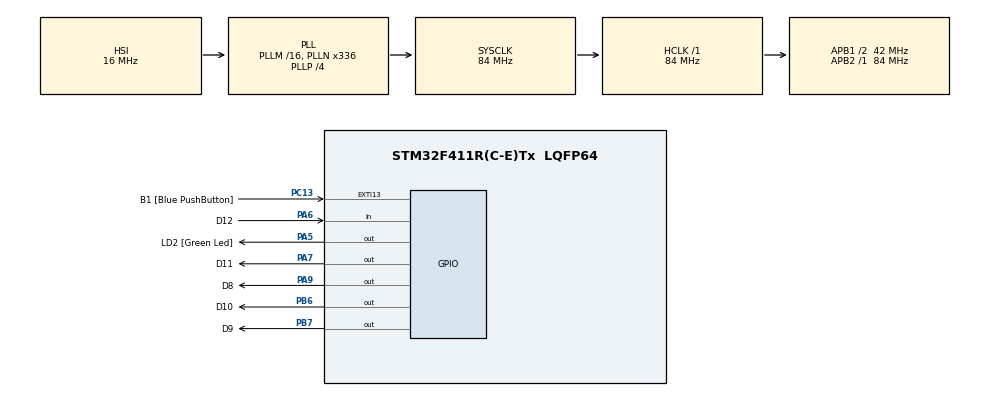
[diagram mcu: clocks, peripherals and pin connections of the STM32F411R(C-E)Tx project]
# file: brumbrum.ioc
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Mcu.Family=STM32F4
RCC.PLLSourceVirtual=RCC_PLLSOURCE_HSI
RCC.CortexFreq_Value=84000000
PC13-ANTI_TAMP.GPIO_Label=B1 [Blue PushButton]
PA9.GPIO_Label=D8
PA14.GPIO_Label=TCK
PA6.GPIO_Label=D12
PB6.GPIO_Label=D10
RCC.APB1CLKDivider=RCC_HCLK_DIV2
PC14-OSC32_IN.Signal=RCC_OSC32_IN
RCC.SYSCLKSource=RCC_SYSCLKSOURCE_PLLCLK
ProjectManager.StackSize=0x400
PA13.Signal=SYS_JTMS-SWDIO
PH0\ -\ OSC_IN.Signal=RCC_OSC_IN
ProjectManager.TargetToolchain=SW4STM32
RCC.HCLKFreq_Value=84000000
RCC.APB2TimFreq_Value=84000000
PA9.Signal=GPIO_Output
PB6.Signal=GPIO_Output
RCC.LSE_VALUE=32768
PC15-OSC32_OUT.Signal=RCC_OSC32_OUT
RCC.AHBFreq_Value=84000000
PA5.Signal=GPIO_Output
RCC.HSE_VALUE=8000000
PH1\ -\ OSC_OUT.Signal=RCC_OSC_OUT
board=NUCLEO-F411RE
PC13-ANTI_TAMP.Signal=GPXTI13
RCC.VCOOutputFreq_Value=336000000
RCC.APB2Freq_Value=84000000
PB7.Signal=GPIO_Output
Mcu.Name=STM32F411R(C-E)Tx
PA2.Signal=USART2_TX
PA13.GPIO_Label=TMS
RCC.FLatency-AdvancedSettings=FLASH_LATENCY_2
PB7.GPIO_Label=D9
RCC.48MHZClocksFreq_Value=84000000
PB3.Signal=SYS_JTDO-SWO
RCC.SYSCLKFreq_VALUE=84000000
Mcu.Package=LQFP64
PA6.Signal=GPIO_Input
PA7.GPIO_Label=D11
PA5.GPIO_Label=LD2 [Green Led]
PC13-ANTI_TAMP.GPIO_ModeDefaultEXTI=GPIO_MODE_IT_FALLING
PA2.GPIO_Label=USART_TX
PA14.Signal=SYS_JTCK-SWCLK
ProjectManager.HeapSize=0x200
RCC.HSI_VALUE=16000000
RCC.PLLP=RCC_PLLP_DIV4
NVIC.PriorityGroup=NVIC_PRIORITYGROUP_0
RCC.PLLN=336
RCC.APB1TimFreq_Value=84000000
RCC.APB1Freq_Value=42000000
PA3.GPIO_Label=USART_RX
PA3.Signal=USART2_RX
PA7.Signal=GPIO_Output
PB3.GPIO_Label=SWO

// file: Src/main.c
/**
  ******************************************************************************
  * File Name          : main.c
  * Description        : Main program body
  *******************************************************************************
  *
  * COPYRIGHT(c) 2020 STMicroelectronics
  *
  * Redistribution and use in source and binary forms, with or without modification,
  * are permitted provided that the following conditions are met:
  *   1. Redistributions of source code must retain the above copyright notice,
  *      this list of conditions and the following disclaimer.
  *   2. Redistributions in binary form must reproduce the above copyright notice,
  *      this list of conditions and the following disclaimer in the documentation
  *      and/or other materials provided with the distribution.
  *   3. Neither the name of STMicroelectronics nor the names of its contributors
  *      may be used to endorse or promote products derived from this software
  *      without specific prior written permission.
  *
  * THIS SOFTWARE IS PROVIDED BY THE COPYRIGHT HOLDERS AND CONTRIBUTORS "AS IS"
  * AND ANY EXPRESS OR IMPLIED WARRANTIES, INCLUDING, BUT NOT LIMITED TO, THE
  * IMPLIED WARRANTIES OF MERCHANTABILITY AND FITNESS FOR A PARTICULAR PURPOSE ARE
  * DISCLAIMED. IN NO EVENT SHALL THE COPYRIGHT HOLDER OR CONTRIBUTORS BE LIABLE
  * FOR ANY DIRECT, INDIRECT, INCIDENTAL, SPECIAL, EXEMPLARY, OR CONSEQUENTIAL
  * DAMAGES (INCLUDING, BUT NOT LIMITED TO, PROCUREMENT OF SUBSTITUTE GOODS OR
  * SERVICES; LOSS OF USE, DATA, OR PROFITS; OR BUSINESS INTERRUPTION) HOWEVER
  * CAUSED AND ON ANY THEORY OF LIABILITY, WHETHER IN CONTRACT, STRICT LIABILITY,
  * OR TORT (INCLUDING NEGLIGENCE OR OTHERWISE) ARISING IN ANY WAY OUT OF THE USE
  * OF THIS SOFTWARE, EVEN IF ADVISED OF THE POSSIBILITY OF SUCH DAMAGE.
  *
  *******************************************************************************
  */
#include "main.h"
#include "stm32f4xx_hal.h"

/* USER CODE BEGIN PV */
/* Private variables ---------------------------------------------------------*/

/* USER CODE END PV */

void SystemClock_Config(void);
void Error_Handler(void);
static void MX_GPIO_Init(void);

/* USER CODE BEGIN PFP */
/* Private function prototypes -----------------------------------------------*/

/* USER CODE END PFP */

int main(void)
{

  /* MCU Configuration----------------------------------------------------------*/

  /* Reset of all peripherals, Initializes the Flash interface and the Systick. */
  HAL_Init();

  /* Configure the system clock */
  SystemClock_Config();

  /* Initialize all configured peripherals */
  MX_GPIO_Init();

  /* USER CODE BEGIN 2 */
  void przod()
  {
	  //A
	  HAL_GPIO_WritePin(GPIOA, GPIO_PIN_9, 1);//przod
	  HAL_GPIO_WritePin(GPIOB, GPIO_PIN_6, 0);//tyl
	  //B
	  HAL_GPIO_WritePin(GPIOA, GPIO_PIN_7, 1);//przod
	  HAL_GPIO_WritePin(GPIOB, GPIO_PIN_7, 0);//tyl
  };
  void stop()
  {
	  //A
	  HAL_GPIO_WritePin(GPIOA, GPIO_PIN_9, 0);//przod
	  HAL_GPIO_WritePin(GPIOB, GPIO_PIN_6, 0);//tyl
	  //B
	  HAL_GPIO_WritePin(GPIOA, GPIO_PIN_7, 0);//przod
	  HAL_GPIO_WritePin(GPIOB, GPIO_PIN_7, 0);//tyl
  };

  void lewo()
    {

	  HAL_GPIO_WritePin(GPIOA, GPIO_PIN_9, 0);//przod
	  HAL_GPIO_WritePin(GPIOB, GPIO_PIN_6, 0);//tyl

	  HAL_GPIO_WritePin(GPIOA, GPIO_PIN_7, 1);//przod
	  HAL_GPIO_WritePin(GPIOB, GPIO_PIN_7, 0);//tyl
    };

    void prawo()
    {
    HAL_GPIO_WritePin(GPIOA, GPIO_PIN_9, 1);//przod
    HAL_GPIO_WritePin(GPIOB, GPIO_PIN_6, 0);//tyl

    HAL_GPIO_WritePin(GPIOA, GPIO_PIN_7, 0);//przod
    HAL_GPIO_WritePin(GPIOB, GPIO_PIN_7, 0);//tyl
    };

int i;
int y;

  /* USER CODE END 2 */

  /* Infinite loop */
  /* USER CODE BEGIN WHILE */
	  stop();
	  HAL_Delay(1000);
  while (1)
  {
  /* USER CODE END WHILE */

  /* USER CODE BEGIN 3 */
	  i=0;
	  y=0;
	  przod();
	  if(HAL_GPIO_ReadPin(GPIOA, GPIO_PIN_6)==0)
	  {
		  stop();
		  HAL_Delay(500);
		  prawo();
		  HAL_Delay(500);
		  i++;
	  }
	  if(HAL_GPIO_ReadPin(GPIOA, GPIO_PIN_6)==0 && i!=0)
	  {
		  stop();
		  HAL_Delay(500);
		  lewo();
		  HAL_Delay(1000);
		  y++;
	  }
	  if(HAL_GPIO_ReadPin(GPIOA, GPIO_PIN_6)==0 && y!=0)
	  {
		  stop();
		  HAL_Delay(500);
		  lewo();
		  HAL_Delay(500);
	  }
  }
  /* USER CODE END 3 */

}

/** System Clock Configuration
*/
void SystemClock_Config(void)
{

  RCC_OscInitTypeDef RCC_OscInitStruct;
  RCC_ClkInitTypeDef RCC_ClkInitStruct;

    /**Configure the main internal regulator output voltage
    */
  __HAL_RCC_PWR_CLK_ENABLE();

  __HAL_PWR_VOLTAGESCALING_CONFIG(PWR_REGULATOR_VOLTAGE_SCALE1);

    /**Initializes the CPU, AHB and APB busses clocks
    */
  RCC_OscInitStruct.OscillatorType = RCC_OSCILLATORTYPE_HSI;
  RCC_OscInitStruct.HSIState = RCC_HSI_ON;
  RCC_OscInitStruct.HSICalibrationValue = 16;
  RCC_OscInitStruct.PLL.PLLState = RCC_PLL_ON;
  RCC_OscInitStruct.PLL.PLLSource = RCC_PLLSOURCE_HSI;
  RCC_OscInitStruct.PLL.PLLM = 16;
  RCC_OscInitStruct.PLL.PLLN = 336;
  RCC_OscInitStruct.PLL.PLLP = RCC_PLLP_DIV4;
  RCC_OscInitStruct.PLL.PLLQ = 4;
  if (HAL_RCC_OscConfig(&RCC_OscInitStruct) != HAL_OK)
  {
    Error_Handler();
  }

    /**Initializes the CPU, AHB and APB busses clocks
    */
  RCC_ClkInitStruct.ClockType = RCC_CLOCKTYPE_HCLK|RCC_CLOCKTYPE_SYSCLK
                              |RCC_CLOCKTYPE_PCLK1|RCC_CLOCKTYPE_PCLK2;
  RCC_ClkInitStruct.SYSCLKSource = RCC_SYSCLKSOURCE_PLLCLK;
  RCC_ClkInitStruct.AHBCLKDivider = RCC_SYSCLK_DIV1;
  RCC_ClkInitStruct.APB1CLKDivider = RCC_HCLK_DIV2;
  RCC_ClkInitStruct.APB2CLKDivider = RCC_HCLK_DIV1;

  if (HAL_RCC_ClockConfig(&RCC_ClkInitStruct, FLASH_LATENCY_2) != HAL_OK)
  {
    Error_Handler();
  }

    /**Configure the Systick interrupt time
    */
  HAL_SYSTICK_Config(HAL_RCC_GetHCLKFreq()/1000);

    /**Configure the Systick
    */
  HAL_SYSTICK_CLKSourceConfig(SYSTICK_CLKSOURCE_HCLK);

  /* SysTick_IRQn interrupt configuration */
  HAL_NVIC_SetPriority(SysTick_IRQn, 0, 0);
}

/** Configure pins as
        * Analog
        * Input
        * Output
        * EVENT_OUT
        * EXTI
     PA2   ------> USART2_TX
     PA3   ------> USART2_RX
*/
static void MX_GPIO_Init(void)
{

  GPIO_InitTypeDef GPIO_InitStruct;

  /* GPIO Ports Clock Enable */
  __HAL_RCC_GPIOC_CLK_ENABLE();
  __HAL_RCC_GPIOH_CLK_ENABLE();
  __HAL_RCC_GPIOA_CLK_ENABLE();
  __HAL_RCC_GPIOB_CLK_ENABLE();

  /*Configure GPIO pin Output Level */
  HAL_GPIO_WritePin(GPIOA, LD2_Pin|D11_Pin|D8_Pin, GPIO_PIN_RESET);

  /*Configure GPIO pin Output Level */
  HAL_GPIO_WritePin(GPIOB, D10_Pin|D9_Pin, GPIO_PIN_RESET);

  /*Configure GPIO pin : B1_Pin */
  GPIO_InitStruct.Pin = B1_Pin;
  GPIO_InitStruct.Mode = GPIO_MODE_IT_FALLING;
  GPIO_InitStruct.Pull = GPIO_NOPULL;
  HAL_GPIO_Init(B1_GPIO_Port, &GPIO_InitStruct);

  /*Configure GPIO pins : USART_TX_Pin USART_RX_Pin */
  GPIO_InitStruct.Pin = USART_TX_Pin|USART_RX_Pin;
  GPIO_InitStruct.Mode = GPIO_MODE_AF_PP;
  GPIO_InitStruct.Pull = GPIO_NOPULL;
  GPIO_InitStruct.Speed = GPIO_SPEED_FREQ_VERY_HIGH;
  GPIO_InitStruct.Alternate = GPIO_AF7_USART2;
  HAL_GPIO_Init(GPIOA, &GPIO_InitStruct);

  /*Configure GPIO pins : LD2_Pin D11_Pin D8_Pin */
  GPIO_InitStruct.Pin = LD2_Pin|D11_Pin|D8_Pin;
  GPIO_InitStruct.Mode = GPIO_MODE_OUTPUT_PP;
  GPIO_InitStruct.Pull = GPIO_NOPULL;
  GPIO_InitStruct.Speed = GPIO_SPEED_FREQ_LOW;
  HAL_GPIO_Init(GPIOA, &GPIO_InitStruct);

  /*Configure GPIO pin : D12_Pin */
  GPIO_InitStruct.Pin = D12_Pin;
  GPIO_InitStruct.Mode = GPIO_MODE_INPUT;
  GPIO_InitStruct.Pull = GPIO_NOPULL;
  HAL_GPIO_Init(D12_GPIO_Port, &GPIO_InitStruct);

  /*Configure GPIO pins : D10_Pin D9_Pin */
  GPIO_InitStruct.Pin = D10_Pin|D9_Pin;
  GPIO_InitStruct.Mode = GPIO_MODE_OUTPUT_PP;
  GPIO_InitStruct.Pull = GPIO_NOPULL;
  GPIO_InitStruct.Speed = GPIO_SPEED_FREQ_LOW;
  HAL_GPIO_Init(GPIOB, &GPIO_InitStruct);

}

void Error_Handler(void)
{
  while(1)
  {
  }
}

/************************ (C) COPYRIGHT STMicroelectronics *****END OF FILE****/
